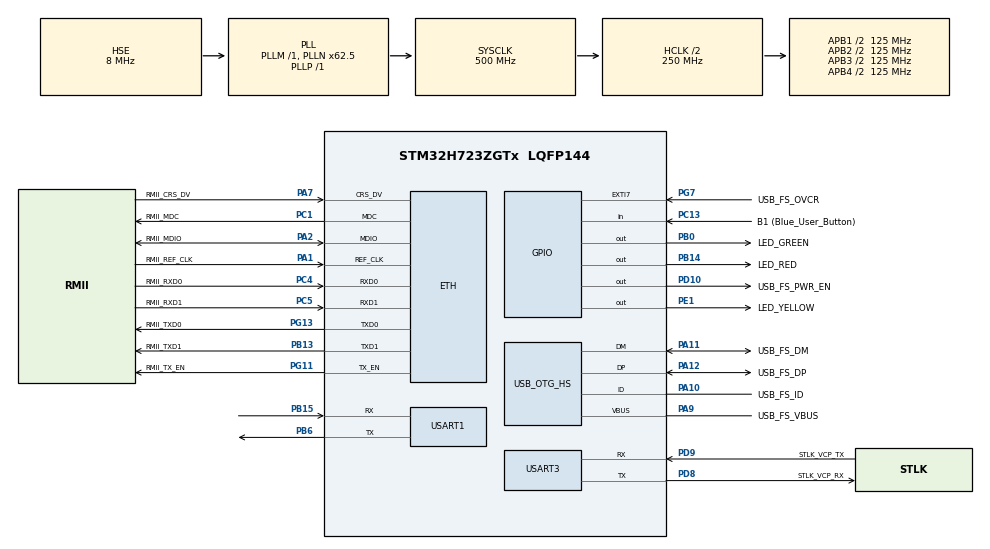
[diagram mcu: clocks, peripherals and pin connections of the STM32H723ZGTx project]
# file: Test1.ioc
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ETH.MediaInterface=HAL_ETH_RMII_MODE
Mcu.Family=STM32H7
Mcu.Name=STM32H723ZGTx
Mcu.Package=LQFP144
NVIC.PriorityGroup=NVIC_PRIORITYGROUP_4
NVIC.TIM1_BRK_IRQn=true\:0\:0\:false\:false\:true\:true\:true\:true
NVIC.TIM1_CC_IRQn=true\:0\:0\:false\:false\:true\:true\:true\:true
NVIC.TIM1_TRG_COM_IRQn=true\:0\:0\:false\:false\:true\:true\:true\:true
NVIC.TIM1_UP_IRQn=true\:0\:0\:false\:false\:true\:true\:true\:true
NVIC.TIM3_IRQn=true\:0\:0\:false\:false\:true\:true\:true\:true
NVIC.TIM4_IRQn=true\:0\:0\:false\:false\:true\:true\:true\:true
NVIC.USART1_IRQn=true\:0\:0\:false\:false\:true\:true\:true\:true
PA1.GPIO_Label=RMII_REF_CLK
PA1.Mode=RMII
PA1.Signal=ETH_REF_CLK
PA10.GPIO_Label=USB_FS_ID
PA10.Mode=OTG/Dual-Role-Device-FS
PA10.Signal=USB_OTG_HS_ID
PA11.GPIO_Label=USB_FS_DM
PA11.Mode=OTG/Dual-Role-Device-FS
PA11.Signal=USB_OTG_HS_DM
PA12.GPIO_Label=USB_FS_DP
PA12.Mode=OTG/Dual-Role-Device-FS
PA12.Signal=USB_OTG_HS_DP
PA13(JTMS/SWDIO).GPIO_Label=SWDIO
PA13(JTMS/SWDIO).Mode=Trace_Asynchronous_SW
PA13(JTMS/SWDIO).Signal=DEBUG_JTMS-SWDIO
PA14(JTCK/SWCLK).GPIO_Label=SWCLK
PA14(JTCK/SWCLK).Mode=Trace_Asynchronous_SW
PA14(JTCK/SWCLK).Signal=DEBUG_JTCK-SWCLK
PA2.GPIO_Label=RMII_MDIO
PA2.Mode=RMII
PA2.Signal=ETH_MDIO
PA7.GPIO_Label=RMII_CRS_DV
PA7.Mode=RMII
PA7.Signal=ETH_CRS_DV
PA9.GPIO_Label=USB_FS_VBUS
PA9.Mode=Activate_VBUS_FS
PA9.Signal=USB_OTG_HS_VBUS
PB0.GPIO_Label=LED_GREEN
PB0.Signal=GPIO_Output
PB13.GPIO_Label=RMII_TXD1
PB13.Mode=RMII
PB13.Signal=ETH_TXD1
PB14.GPIO_Label=LED_RED
PB14.Signal=GPIO_Output
PB15.Mode=Asynchronous
PB15.Signal=USART1_RX
PB3(JTDO/TRACESWO).GPIO_Label=SWO
PB3(JTDO/TRACESWO).Mode=Trace_Asynchronous_SW
PB3(JTDO/TRACESWO).Signal=DEBUG_JTDO-SWO
PB6.Mode=Asynchronous
PB6.Signal=USART1_TX
PC1.GPIO_Label=RMII_MDC
PC1.Mode=RMII
PC1.Signal=ETH_MDC
PC13.GPIO_Label=B1 (Blue_User_Button)
PC13.Signal=GPIO_Input
PC14-OSC32_IN.Mode=LSE-External-Oscillator
PC14-OSC32_IN.Signal=RCC_OSC32_IN
PC15-OSC32_OUT.Mode=LSE-External-Oscillator
PC15-OSC32_OUT.Signal=RCC_OSC32_OUT
PC4.GPIO_Label=RMII_RXD0
PC4.Mode=RMII
PC4.Signal=ETH_RXD0
PC5.GPIO_Label=RMII_RXD1
PC5.Mode=RMII
PC5.Signal=ETH_RXD1
PD10.GPIO_Label=USB_FS_PWR_EN
PD10.Signal=GPIO_Output
PD8.GPIO_Label=STLK_VCP_RX
PD8.Mode=Asynchronous
PD8.Signal=USART3_TX
PD9.GPIO_Label=STLK_VCP_TX
PD9.Mode=Asynchronous
PD9.Signal=USART3_RX
PE1.GPIO_Label=LED_YELLOW
PE1.Signal=GPIO_Output
PG11.GPIO_Label=RMII_TX_EN
PG11.Mode=RMII
PG11.Signal=ETH_TX_EN
PG13.GPIO_Label=RMII_TXD0
PG13.Mode=RMII
PG13.Signal=ETH_TXD0
PG7.GPIO_Label=USB_FS_OVCR
PG7.Signal=GPXTI7
PH0-OSC_IN.GPIO_Label=MCO
PH0-OSC_IN.Mode=HSE-External-Clock-Source
PH0-OSC_IN.Signal=RCC_OSC_IN
PH1-OSC_OUT.Signal=RCC_OSC_OUT
ProjectManager.HeapSize=0x200
ProjectManager.StackSize=0x400
ProjectManager.TargetToolchain=STM32CubeIDE
RCC.ADCFreq_Value=76000000
RCC.APB1Freq_Value=125000000
RCC.APB2Freq_Value=125000000
RCC.APB3Freq_Value=125000000
RCC.APB4Freq_Value=125000000
RCC.CortexFreq_Value=500000000
RCC.D1PPRE=RCC_APB3_DIV2
RCC.D2PPRE1=RCC_APB1_DIV2
RCC.D2PPRE2=RCC_APB2_DIV2
RCC.D3PPRE=RCC_APB4_DIV2
RCC.DIVM1=1
RCC.DIVM2=1
RCC.DIVN1=62
RCC.DIVN2=19
RCC.DIVP1=1
RCC.DIVQ1=4
RCC.HCLKFreq_Value=250000000
RCC.HPRE=RCC_HCLK_DIV2
RCC.HSE_VALUE=8000000
RCC.PLLFRACN=4096
RCC.PLLSourceVirtual=RCC_PLLSOURCE_HSE
RCC.SYSCLKFreq_VALUE=500000000
RCC.SYSCLKSource=RCC_SYSCLKSOURCE_PLLCLK
RCC.USBCLockSelection=RCC_USBCLKSOURCE_HSI48
RCC.USBFreq_Value=48000000
TIM1.Period=4999
TIM1.Prescaler=9999
TIM3.AutoReloadPreload=TIM_AUTORELOAD_PRELOAD_DISABLE
TIM3.Period=50000
TIM3.Prescaler=2500
TIM4.Period=50000
TIM4.Prescaler=5000
USART1.VirtualMode-Asynchronous=VM_ASYNC
USART3.VirtualMode-Asynchronous=VM_ASYNC
VP_TIM1_VS_ClockSourceINT.Mode=Internal
VP_TIM3_VS_ClockSourceINT.Mode=Internal
VP_TIM4_VS_ClockSourceINT.Mode=Internal
board=NUCLEO-H723ZG

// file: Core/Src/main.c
/* USER CODE BEGIN Header */
/**
  ******************************************************************************
  * @file           : main.c
  * @brief          : Main program body
  ******************************************************************************
  * @attention
  *
  * Copyright (c) 2023 STMicroelectronics.
  * All rights reserved.
  *
  * This software is licensed under terms that can be found in the LICENSE file
  * in the root directory of this software component.
  * If no LICENSE file comes with this software, it is provided AS-IS.
  *
  ******************************************************************************
  */
/* USER CODE END Header */
#include "main.h"
#include "string.h"

/* USER CODE BEGIN Includes */
#include <stdbool.h>
#include<stdio.h>
#include<stdlib.h>
#include "stm32h7xx_hal.h"
/* USER CODE END Includes */

#if defined ( __ICCARM__ ) /*!< IAR Compiler */
#pragma location=0x30000000
ETH_DMADescTypeDef  DMARxDscrTab[ETH_RX_DESC_CNT]; /* Ethernet Rx DMA Descriptors */
#pragma location=0x30000200
ETH_DMADescTypeDef  DMATxDscrTab[ETH_TX_DESC_CNT]; /* Ethernet Tx DMA Descriptors */

#elif defined ( __CC_ARM )  /* MDK ARM Compiler */

__attribute__((at(0x30000000))) ETH_DMADescTypeDef  DMARxDscrTab[ETH_RX_DESC_CNT]; /* Ethernet Rx DMA Descriptors */
__attribute__((at(0x30000200))) ETH_DMADescTypeDef  DMATxDscrTab[ETH_TX_DESC_CNT]; /* Ethernet Tx DMA Descriptors */

#elif defined ( __GNUC__ ) /* GNU Compiler */
ETH_DMADescTypeDef DMARxDscrTab[ETH_RX_DESC_CNT] __attribute__((section(".RxDecripSection"))); /* Ethernet Rx DMA Descriptors */
ETH_DMADescTypeDef DMATxDscrTab[ETH_TX_DESC_CNT] __attribute__((section(".TxDecripSection")));   /* Ethernet Tx DMA Descriptors */

#endif

ETH_TxPacketConfig TxConfig;

ETH_HandleTypeDef heth;

TIM_HandleTypeDef htim1;
TIM_HandleTypeDef htim3;
TIM_HandleTypeDef htim4;

UART_HandleTypeDef huart1;
UART_HandleTypeDef huart3;
// Structure
typedef struct {
  char str[10];
  uint8_t booleans;
// uint32_t timestamp;
  int32_t integer;
  float floats;
} myStruct;
//String list
const char* stringList[] = {
  "apple",
  "banana",
  "cherry",
  "orange",
  "pears"
};
//send function
void sendStruct(const myStruct* data) {
  char newString[100];
  char floatString[10];
  sprintf(floatString,"%.2f",data->floats);
  /*if the Problem description: The float formatting support is not enabled, check your
  MCU Settings from "Project Properties > C/C++ Build > Settings > Tool
  Settings", or add manually "-u _printf_float" in linker flags.
  you should have to follow these steps from the link :
  https://community.st.com/t5/stm32cubeide-mcu/where-can-i-change-the-runtime-library-in-stm32cubeidev1-00/td-p/327232
  */

  sprintf(newString, "%s %s %ld %s;", data->str, (data->booleans ? "true" : "false"), data->integer, floatString);
  HAL_UART_Transmit(&huart1, (uint8_t*)newString, strlen(newString), HAL_MAX_DELAY);
}

void SystemClock_Config(void);
static void MX_GPIO_Init(void);
static void MX_ETH_Init(void);
static void MX_USART3_UART_Init(void);
static void MX_USB_OTG_HS_USB_Init(void);
static void MX_TIM3_Init(void);
static void MX_TIM1_Init(void);
static void MX_USART1_UART_Init(void);
static void MX_TIM4_Init(void);
/* USER CODE BEGIN PFP */
bool flag = false;
/* USER CODE END PFP */

int main(void)
{

  /* MCU Configuration--------------------------------------------------------*/

  /* Reset of all peripherals, Initializes the Flash interface and the Systick. */
  HAL_Init();

  /* Configure the system clock */
  SystemClock_Config();

  /* Initialize all configured peripherals */
  MX_GPIO_Init();
  MX_ETH_Init();
  MX_USART3_UART_Init();
  MX_USB_OTG_HS_USB_Init();
  MX_TIM3_Init();
  MX_TIM1_Init();
  MX_USART1_UART_Init();
  MX_TIM4_Init();
  /* USER CODE BEGIN 2 */
  HAL_TIM_Base_Start_IT(&htim3);
  HAL_TIM_Base_Start_IT(&htim4);
 // char message[]= "HEllo\n";

  /* USER CODE END 2 */

  /* Infinite loop */
  /* USER CODE BEGIN WHILE */
  while (1)
  {
	     myStruct data;
	     uint8_t randomIndex = rand() % 5;
	    // data.timestamp = HAL_GetTick();
	     strcpy(data.str, stringList[randomIndex]);
	     data.booleans = rand() % 2;
	     data.integer = rand() % 201 - 100;
	     data.floats = (float)(rand() % 2001 - 1000) / 10.0f;
	     sendStruct(&data);
	     HAL_Delay(1000);
	 //------------Blinking LED------------
    if(flag == true){
    	HAL_GPIO_WritePin(GPIOE,GPIO_PIN_1,GPIO_PIN_SET); // LED ON
    	HAL_Delay(1000);
    	HAL_GPIO_WritePin(GPIOE,GPIO_PIN_1,GPIO_PIN_RESET);
    	HAL_Delay(1000);
    	// HAL_UART_Transmit(&huart1, (uint8_t *)newString.c_str(), strlen(message), HAL_MAX_DELAY);

    	flag=false;
    }
    /* USER CODE END WHILE */

  }
}

void SystemClock_Config(void)
{
  RCC_OscInitTypeDef RCC_OscInitStruct = {0};
  RCC_ClkInitTypeDef RCC_ClkInitStruct = {0};

  /** Supply configuration update enable
  */
  HAL_PWREx_ConfigSupply(PWR_LDO_SUPPLY);

  /** Configure the main internal regulator output voltage
  */
  __HAL_PWR_VOLTAGESCALING_CONFIG(PWR_REGULATOR_VOLTAGE_SCALE0);

  while(!__HAL_PWR_GET_FLAG(PWR_FLAG_VOSRDY)) {}

  /** Initializes the RCC Oscillators according to the specified parameters
  * in the RCC_OscInitTypeDef structure.
  */
  RCC_OscInitStruct.OscillatorType = RCC_OSCILLATORTYPE_HSI48|RCC_OSCILLATORTYPE_HSE;
  RCC_OscInitStruct.HSEState = RCC_HSE_BYPASS;
  RCC_OscInitStruct.HSI48State = RCC_HSI48_ON;
  RCC_OscInitStruct.PLL.PLLState = RCC_PLL_ON;
  RCC_OscInitStruct.PLL.PLLSource = RCC_PLLSOURCE_HSE;
  RCC_OscInitStruct.PLL.PLLM = 1;
  RCC_OscInitStruct.PLL.PLLN = 62;
  RCC_OscInitStruct.PLL.PLLP = 1;
  RCC_OscInitStruct.PLL.PLLQ = 4;
  RCC_OscInitStruct.PLL.PLLR = 2;
  RCC_OscInitStruct.PLL.PLLRGE = RCC_PLL1VCIRANGE_3;
  RCC_OscInitStruct.PLL.PLLVCOSEL = RCC_PLL1VCOWIDE;
  RCC_OscInitStruct.PLL.PLLFRACN = 4096;
  if (HAL_RCC_OscConfig(&RCC_OscInitStruct) != HAL_OK)
  {
    Error_Handler();
  }

  /** Initializes the CPU, AHB and APB buses clocks
  */
  RCC_ClkInitStruct.ClockType = RCC_CLOCKTYPE_HCLK|RCC_CLOCKTYPE_SYSCLK
                              |RCC_CLOCKTYPE_PCLK1|RCC_CLOCKTYPE_PCLK2
                              |RCC_CLOCKTYPE_D3PCLK1|RCC_CLOCKTYPE_D1PCLK1;
  RCC_ClkInitStruct.SYSCLKSource = RCC_SYSCLKSOURCE_PLLCLK;
  RCC_ClkInitStruct.SYSCLKDivider = RCC_SYSCLK_DIV1;
  RCC_ClkInitStruct.AHBCLKDivider = RCC_HCLK_DIV2;
  RCC_ClkInitStruct.APB3CLKDivider = RCC_APB3_DIV2;
  RCC_ClkInitStruct.APB1CLKDivider = RCC_APB1_DIV2;
  RCC_ClkInitStruct.APB2CLKDivider = RCC_APB2_DIV2;
  RCC_ClkInitStruct.APB4CLKDivider = RCC_APB4_DIV2;

  if (HAL_RCC_ClockConfig(&RCC_ClkInitStruct, FLASH_LATENCY_3) != HAL_OK)
  {
    Error_Handler();
  }
}

static void MX_ETH_Init(void)
{

   static uint8_t MACAddr[6];

  heth.Instance = ETH;
  MACAddr[0] = 0x00;
  MACAddr[1] = 0x80;
  MACAddr[2] = 0xE1;
  MACAddr[3] = 0x00;
  MACAddr[4] = 0x00;
  MACAddr[5] = 0x00;
  heth.Init.MACAddr = &MACAddr[0];
  heth.Init.MediaInterface = HAL_ETH_RMII_MODE;
  heth.Init.TxDesc = DMATxDscrTab;
  heth.Init.RxDesc = DMARxDscrTab;
  heth.Init.RxBuffLen = 1524;

  if (HAL_ETH_Init(&heth) != HAL_OK)
  {
    Error_Handler();
  }

  memset(&TxConfig, 0 , sizeof(ETH_TxPacketConfig));
  TxConfig.Attributes = ETH_TX_PACKETS_FEATURES_CSUM | ETH_TX_PACKETS_FEATURES_CRCPAD;
  TxConfig.ChecksumCtrl = ETH_CHECKSUM_IPHDR_PAYLOAD_INSERT_PHDR_CALC;
  TxConfig.CRCPadCtrl = ETH_CRC_PAD_INSERT;

}

static void MX_TIM1_Init(void)
{

  TIM_ClockConfigTypeDef sClockSourceConfig = {0};
  TIM_MasterConfigTypeDef sMasterConfig = {0};

  htim1.Instance = TIM1;
  htim1.Init.Prescaler = 9999;
  htim1.Init.CounterMode = TIM_COUNTERMODE_UP;
  htim1.Init.Period = 4999;
  htim1.Init.ClockDivision = TIM_CLOCKDIVISION_DIV1;
  htim1.Init.RepetitionCounter = 0;
  htim1.Init.AutoReloadPreload = TIM_AUTORELOAD_PRELOAD_DISABLE;
  if (HAL_TIM_Base_Init(&htim1) != HAL_OK)
  {
    Error_Handler();
  }
  sClockSourceConfig.ClockSource = TIM_CLOCKSOURCE_INTERNAL;
  if (HAL_TIM_ConfigClockSource(&htim1, &sClockSourceConfig) != HAL_OK)
  {
    Error_Handler();
  }
  sMasterConfig.MasterOutputTrigger = TIM_TRGO_RESET;
  sMasterConfig.MasterOutputTrigger2 = TIM_TRGO2_RESET;
  sMasterConfig.MasterSlaveMode = TIM_MASTERSLAVEMODE_DISABLE;
  if (HAL_TIMEx_MasterConfigSynchronization(&htim1, &sMasterConfig) != HAL_OK)
  {
    Error_Handler();
  }

}

static void MX_TIM3_Init(void)
{

  TIM_ClockConfigTypeDef sClockSourceConfig = {0};
  TIM_MasterConfigTypeDef sMasterConfig = {0};

  htim3.Instance = TIM3;
  htim3.Init.Prescaler = 2500;
  htim3.Init.CounterMode = TIM_COUNTERMODE_UP;
  htim3.Init.Period = 50000;
  htim3.Init.ClockDivision = TIM_CLOCKDIVISION_DIV1;
  htim3.Init.AutoReloadPreload = TIM_AUTORELOAD_PRELOAD_DISABLE;
  if (HAL_TIM_Base_Init(&htim3) != HAL_OK)
  {
    Error_Handler();
  }
  sClockSourceConfig.ClockSource = TIM_CLOCKSOURCE_INTERNAL;
  if (HAL_TIM_ConfigClockSource(&htim3, &sClockSourceConfig) != HAL_OK)
  {
    Error_Handler();
  }
  sMasterConfig.MasterOutputTrigger = TIM_TRGO_RESET;
  sMasterConfig.MasterSlaveMode = TIM_MASTERSLAVEMODE_DISABLE;
  if (HAL_TIMEx_MasterConfigSynchronization(&htim3, &sMasterConfig) != HAL_OK)
  {
    Error_Handler();
  }

}

static void MX_TIM4_Init(void)
{

  TIM_ClockConfigTypeDef sClockSourceConfig = {0};
  TIM_MasterConfigTypeDef sMasterConfig = {0};

  htim4.Instance = TIM4;
  htim4.Init.Prescaler = 5000;
  htim4.Init.CounterMode = TIM_COUNTERMODE_UP;
  htim4.Init.Period = 50000;
  htim4.Init.ClockDivision = TIM_CLOCKDIVISION_DIV1;
  htim4.Init.AutoReloadPreload = TIM_AUTORELOAD_PRELOAD_DISABLE;
  if (HAL_TIM_Base_Init(&htim4) != HAL_OK)
  {
    Error_Handler();
  }
  sClockSourceConfig.ClockSource = TIM_CLOCKSOURCE_INTERNAL;
  if (HAL_TIM_ConfigClockSource(&htim4, &sClockSourceConfig) != HAL_OK)
  {
    Error_Handler();
  }
  sMasterConfig.MasterOutputTrigger = TIM_TRGO_RESET;
  sMasterConfig.MasterSlaveMode = TIM_MASTERSLAVEMODE_DISABLE;
  if (HAL_TIMEx_MasterConfigSynchronization(&htim4, &sMasterConfig) != HAL_OK)
  {
    Error_Handler();
  }

}

static void MX_USART1_UART_Init(void)
{

  huart1.Instance = USART1;
  huart1.Init.BaudRate = 115200;
  huart1.Init.WordLength = UART_WORDLENGTH_8B;
  huart1.Init.StopBits = UART_STOPBITS_1;
  huart1.Init.Parity = UART_PARITY_NONE;
  huart1.Init.Mode = UART_MODE_TX_RX;
  huart1.Init.HwFlowCtl = UART_HWCONTROL_NONE;
  huart1.Init.OverSampling = UART_OVERSAMPLING_16;
  huart1.Init.OneBitSampling = UART_ONE_BIT_SAMPLE_DISABLE;
  huart1.Init.ClockPrescaler = UART_PRESCALER_DIV1;
  huart1.AdvancedInit.AdvFeatureInit = UART_ADVFEATURE_NO_INIT;
  if (HAL_UART_Init(&huart1) != HAL_OK)
  {
    Error_Handler();
  }
  if (HAL_UARTEx_SetTxFifoThreshold(&huart1, UART_TXFIFO_THRESHOLD_1_8) != HAL_OK)
  {
    Error_Handler();
  }
  if (HAL_UARTEx_SetRxFifoThreshold(&huart1, UART_RXFIFO_THRESHOLD_1_8) != HAL_OK)
  {
    Error_Handler();
  }
  if (HAL_UARTEx_DisableFifoMode(&huart1) != HAL_OK)
  {
    Error_Handler();
  }

}

static void MX_USART3_UART_Init(void)
{

  huart3.Instance = USART3;
  huart3.Init.BaudRate = 115200;
  huart3.Init.WordLength = UART_WORDLENGTH_8B;
  huart3.Init.StopBits = UART_STOPBITS_1;
  huart3.Init.Parity = UART_PARITY_NONE;
  huart3.Init.Mode = UART_MODE_TX_RX;
  huart3.Init.HwFlowCtl = UART_HWCONTROL_NONE;
  huart3.Init.OverSampling = UART_OVERSAMPLING_16;
  huart3.Init.OneBitSampling = UART_ONE_BIT_SAMPLE_DISABLE;
  huart3.Init.ClockPrescaler = UART_PRESCALER_DIV1;
  huart3.AdvancedInit.AdvFeatureInit = UART_ADVFEATURE_NO_INIT;
  if (HAL_UART_Init(&huart3) != HAL_OK)
  {
    Error_Handler();
  }
  if (HAL_UARTEx_SetTxFifoThreshold(&huart3, UART_TXFIFO_THRESHOLD_1_8) != HAL_OK)
  {
    Error_Handler();
  }
  if (HAL_UARTEx_SetRxFifoThreshold(&huart3, UART_RXFIFO_THRESHOLD_1_8) != HAL_OK)
  {
    Error_Handler();
  }
  if (HAL_UARTEx_DisableFifoMode(&huart3) != HAL_OK)
  {
    Error_Handler();
  }

}

static void MX_USB_OTG_HS_USB_Init(void)
{

}

static void MX_GPIO_Init(void)
{
  GPIO_InitTypeDef GPIO_InitStruct = {0};

  /* GPIO Ports Clock Enable */
  __HAL_RCC_GPIOC_CLK_ENABLE();
  __HAL_RCC_GPIOH_CLK_ENABLE();
  __HAL_RCC_GPIOA_CLK_ENABLE();
  __HAL_RCC_GPIOB_CLK_ENABLE();
  __HAL_RCC_GPIOD_CLK_ENABLE();
  __HAL_RCC_GPIOG_CLK_ENABLE();
  __HAL_RCC_GPIOE_CLK_ENABLE();

  /*Configure GPIO pin Output Level */
  HAL_GPIO_WritePin(GPIOB, LED_GREEN_Pin|LED_RED_Pin, GPIO_PIN_RESET);

  /*Configure GPIO pin Output Level */
  HAL_GPIO_WritePin(USB_FS_PWR_EN_GPIO_Port, USB_FS_PWR_EN_Pin, GPIO_PIN_RESET);

  /*Configure GPIO pin Output Level */
  HAL_GPIO_WritePin(LED_YELLOW_GPIO_Port, LED_YELLOW_Pin, GPIO_PIN_RESET);

  /*Configure GPIO pin : B1_Pin */
  GPIO_InitStruct.Pin = B1_Pin;
  GPIO_InitStruct.Mode = GPIO_MODE_INPUT;
  GPIO_InitStruct.Pull = GPIO_NOPULL;
  HAL_GPIO_Init(B1_GPIO_Port, &GPIO_InitStruct);

  /*Configure GPIO pins : LED_GREEN_Pin LED_RED_Pin */
  GPIO_InitStruct.Pin = LED_GREEN_Pin|LED_RED_Pin;
  GPIO_InitStruct.Mode = GPIO_MODE_OUTPUT_PP;
  GPIO_InitStruct.Pull = GPIO_NOPULL;
  GPIO_InitStruct.Speed = GPIO_SPEED_FREQ_LOW;
  HAL_GPIO_Init(GPIOB, &GPIO_InitStruct);

  /*Configure GPIO pin : USB_FS_PWR_EN_Pin */
  GPIO_InitStruct.Pin = USB_FS_PWR_EN_Pin;
  GPIO_InitStruct.Mode = GPIO_MODE_OUTPUT_PP;
  GPIO_InitStruct.Pull = GPIO_NOPULL;
  GPIO_InitStruct.Speed = GPIO_SPEED_FREQ_LOW;
  HAL_GPIO_Init(USB_FS_PWR_EN_GPIO_Port, &GPIO_InitStruct);

  /*Configure GPIO pin : USB_FS_OVCR_Pin */
  GPIO_InitStruct.Pin = USB_FS_OVCR_Pin;
  GPIO_InitStruct.Mode = GPIO_MODE_IT_RISING;
  GPIO_InitStruct.Pull = GPIO_NOPULL;
  HAL_GPIO_Init(USB_FS_OVCR_GPIO_Port, &GPIO_InitStruct);

  /*Configure GPIO pin : USB_FS_VBUS_Pin */
  GPIO_InitStruct.Pin = USB_FS_VBUS_Pin;
  GPIO_InitStruct.Mode = GPIO_MODE_INPUT;
  GPIO_InitStruct.Pull = GPIO_NOPULL;
  HAL_GPIO_Init(USB_FS_VBUS_GPIO_Port, &GPIO_InitStruct);

  /*Configure GPIO pin : USB_FS_ID_Pin */
  GPIO_InitStruct.Pin = USB_FS_ID_Pin;
  GPIO_InitStruct.Mode = GPIO_MODE_AF_PP;
  GPIO_InitStruct.Pull = GPIO_NOPULL;
  GPIO_InitStruct.Speed = GPIO_SPEED_FREQ_LOW;
  GPIO_InitStruct.Alternate = GPIO_AF10_OTG1_HS;
  HAL_GPIO_Init(USB_FS_ID_GPIO_Port, &GPIO_InitStruct);

  /*Configure GPIO pin : LED_YELLOW_Pin */
  GPIO_InitStruct.Pin = LED_YELLOW_Pin;
  GPIO_InitStruct.Mode = GPIO_MODE_OUTPUT_PP;
  GPIO_InitStruct.Pull = GPIO_NOPULL;
  GPIO_InitStruct.Speed = GPIO_SPEED_FREQ_LOW;
  HAL_GPIO_Init(LED_YELLOW_GPIO_Port, &GPIO_InitStruct);

}

/* USER CODE BEGIN 4 */
void HAL_TIM_PeriodElapsedCallback (TIM_HandleTypeDef * htim){
	if(htim==&htim3){
		HAL_GPIO_TogglePin(GPIOB, GPIO_PIN_14);
		flag = true;
	}
	if(htim==&htim4){
		HAL_GPIO_TogglePin(GPIOB,GPIO_PIN_0);
	}

}

/* USER CODE END 4 */

void Error_Handler(void)
{
  __disable_irq();
  while (1)
  {
  }
}
